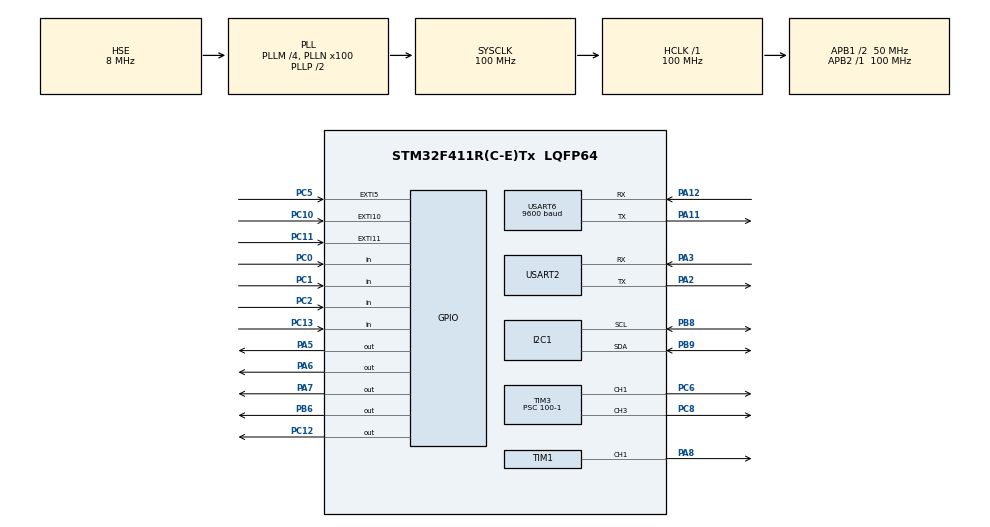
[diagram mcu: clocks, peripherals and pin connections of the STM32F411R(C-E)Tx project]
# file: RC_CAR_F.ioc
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FREERTOS.Mutexes01=lcdMutex,Dynamic,NULL,Available
FREERTOS.Queues01=btnQue,16,uint32_t,0,Dynamic,NULL,NULL;CommQueue,16,uint32_t,0,Dynamic,NULL,NULL
FREERTOS.Tasks01=defaultTask,0,128,StartDefaultTask,Default,NULL,Dynamic,NULL,NULL;MotorTask,0,128,StartMotorTask,Default,NULL,Dynamic,NULL,NULL;ButtonTask,0,128,StartButtonTask,Default,NULL,Dynamic,NULL,NULL;CommTask,0,128,StartCommTask,Default,NULL,Dynamic,NULL,NULL
FREERTOS.configUSE_NEWLIB_REENTRANT=1
Mcu.Family=STM32F4
Mcu.Name=STM32F411R(C-E)Tx
Mcu.Package=LQFP64
NVIC.EXTI15_10_IRQn=true\:5\:0\:false\:false\:true\:true\:true\:true\:true
NVIC.EXTI9_5_IRQn=true\:5\:0\:false\:false\:true\:true\:true\:true\:true
NVIC.PriorityGroup=NVIC_PRIORITYGROUP_4
NVIC.TIM1_UP_TIM10_IRQn=true\:5\:0\:false\:false\:true\:true\:false\:true\:true
NVIC.TimeBase=TIM1_UP_TIM10_IRQn
NVIC.TimeBaseIP=TIM10
NVIC.USART2_IRQn=true\:5\:0\:false\:false\:true\:true\:true\:true\:true
NVIC.USART6_IRQn=true\:5\:0\:false\:false\:true\:true\:true\:true\:true
PA11.Mode=Asynchronous
PA11.Signal=USART6_TX
PA12.Mode=Asynchronous
PA12.Signal=USART6_RX
PA13.Mode=Serial_Wire
PA13.Signal=SYS_JTMS-SWDIO
PA14.Mode=Serial_Wire
PA14.Signal=SYS_JTCK-SWCLK
PA2.Mode=Asynchronous
PA2.Signal=USART2_TX
PA3.Mode=Asynchronous
PA3.Signal=USART2_RX
PA5.Signal=GPIO_Output
PA6.Signal=GPIO_Output
PA7.Signal=GPIO_Output
PA8.Signal=S_TIM1_CH1
PB6.Signal=GPIO_Output
PB8.Mode=I2C
PB8.Signal=I2C1_SCL
PB9.Mode=I2C
PB9.Signal=I2C1_SDA
PC0.Signal=GPIO_Input
PC1.Signal=GPIO_Input
PC10.GPIO_ModeDefaultEXTI=GPIO_MODE_IT_RISING_FALLING
PC10.Signal=GPXTI10
PC11.GPIO_ModeDefaultEXTI=GPIO_MODE_IT_RISING_FALLING
PC11.Signal=GPXTI11
PC12.Signal=GPIO_Output
PC13-ANTI_TAMP.Signal=GPIO_Input
PC2.Signal=GPIO_Input
PC5.GPIO_ModeDefaultEXTI=GPIO_MODE_IT_RISING_FALLING
PC5.Signal=GPXTI5
PC6.Signal=S_TIM3_CH1
PC8.Signal=S_TIM3_CH3
PH0\ -\ OSC_IN.Mode=HSE-External-Oscillator
PH0\ -\ OSC_IN.Signal=RCC_OSC_IN
PH1\ -\ OSC_OUT.Mode=HSE-External-Oscillator
PH1\ -\ OSC_OUT.Signal=RCC_OSC_OUT
ProjectManager.HeapSize=0x200
ProjectManager.StackSize=0x400
ProjectManager.TargetToolchain=STM32CubeIDE
RCC.48MHZClocksFreq_Value=50000000
RCC.AHBFreq_Value=100000000
RCC.APB1CLKDivider=RCC_HCLK_DIV2
RCC.APB1Freq_Value=50000000
RCC.APB1TimFreq_Value=100000000
RCC.APB2Freq_Value=100000000
RCC.APB2TimFreq_Value=100000000
RCC.CortexFreq_Value=100000000
RCC.HCLKFreq_Value=100000000
RCC.HSE_VALUE=8000000
RCC.HSI_VALUE=16000000
RCC.LSE_VALUE=32768
RCC.PLLM=4
RCC.PLLN=100
RCC.PLLSourceVirtual=RCC_PLLSOURCE_HSE
RCC.SYSCLKFreq_VALUE=100000000
RCC.SYSCLKSource=RCC_SYSCLKSOURCE_PLLCLK
RCC.VCOOutputFreq_Value=200000000
SH.S_TIM1_CH1.0=TIM1_CH1,PWM Generation1 CH1
SH.S_TIM3_CH1.0=TIM3_CH1,PWM Generation1 CH1
SH.S_TIM3_CH3.0=TIM3_CH3,PWM Generation3 CH3
TIM1.Channel-PWM\ Generation1\ CH1=TIM_CHANNEL_1
TIM1.Period=1000-1
TIM1.Prescaler=100-1
TIM2.Prescaler=100-1
TIM3.AutoReloadPreload=TIM_AUTORELOAD_PRELOAD_ENABLE
TIM3.Channel-PWM\ Generation1\ CH1=TIM_CHANNEL_1
TIM3.Channel-PWM\ Generation3\ CH3=TIM_CHANNEL_3
TIM3.Period=1000-1
TIM3.Prescaler=100-1
USART2.VirtualMode=VM_ASYNC
USART6.BaudRate=9600
USART6.VirtualMode=VM_ASYNC
VP_FREERTOS_VS_CMSIS_V1.Mode=CMSIS_V1
VP_SYS_VS_tim10.Mode=TIM10
VP_TIM1_VS_ClockSourceINT.Mode=Internal
VP_TIM2_VS_ClockSourceINT.Mode=Internal
VP_TIM3_VS_ClockSourceINT.Mode=Internal
board=custom

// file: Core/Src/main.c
/* USER CODE BEGIN Header */
/**
  ******************************************************************************
  * @file           : main.c
  * @brief          : Main program body
  ******************************************************************************
  * @attention
  *
  * Copyright (c) 2026 STMicroelectronics.
  * All rights reserved.
  *
  * This software is licensed under terms that can be found in the LICENSE file
  * in the root directory of this software component.
  * If no LICENSE file comes with this software, it is provided AS-IS.
  *
  ******************************************************************************
  */
/* USER CODE END Header */
#include "main.h"
#include "cmsis_os.h"
#include "i2c.h"
#include "tim.h"
#include "usart.h"
#include "gpio.h"

void SystemClock_Config(void);
void MX_FREERTOS_Init(void);

int main(void)
{

  /* MCU Configuration--------------------------------------------------------*/

  /* Reset of all peripherals, Initializes the Flash interface and the Systick. */
  HAL_Init();

  /* Configure the system clock */
  SystemClock_Config();

  /* Initialize all configured peripherals */
  MX_GPIO_Init();
  MX_TIM3_Init();
  MX_USART2_UART_Init();
  MX_I2C1_Init();
  MX_TIM2_Init();
  MX_TIM1_Init();
  MX_USART6_UART_Init();

  /* Call init function for freertos objects (in cmsis_os2.c) */
  MX_FREERTOS_Init();

  /* Start scheduler */
  osKernelStart();

  /* We should never get here as control is now taken by the scheduler */

  /* Infinite loop */
  while (1)
  {

  }
}

void SystemClock_Config(void)
{
  RCC_OscInitTypeDef RCC_OscInitStruct = {0};
  RCC_ClkInitTypeDef RCC_ClkInitStruct = {0};

  /** Configure the main internal regulator output voltage
  */
  __HAL_RCC_PWR_CLK_ENABLE();
  __HAL_PWR_VOLTAGESCALING_CONFIG(PWR_REGULATOR_VOLTAGE_SCALE1);

  /** Initializes the RCC Oscillators according to the specified parameters
  * in the RCC_OscInitTypeDef structure.
  */
  RCC_OscInitStruct.OscillatorType = RCC_OSCILLATORTYPE_HSE;
  RCC_OscInitStruct.HSEState = RCC_HSE_ON;
  RCC_OscInitStruct.PLL.PLLState = RCC_PLL_ON;
  RCC_OscInitStruct.PLL.PLLSource = RCC_PLLSOURCE_HSE;
  RCC_OscInitStruct.PLL.PLLM = 4;
  RCC_OscInitStruct.PLL.PLLN = 100;
  RCC_OscInitStruct.PLL.PLLP = RCC_PLLP_DIV2;
  RCC_OscInitStruct.PLL.PLLQ = 4;
  if (HAL_RCC_OscConfig(&RCC_OscInitStruct) != HAL_OK)
  {
    Error_Handler();
  }

  /** Initializes the CPU, AHB and APB buses clocks
  */
  RCC_ClkInitStruct.ClockType = RCC_CLOCKTYPE_HCLK|RCC_CLOCKTYPE_SYSCLK
                              |RCC_CLOCKTYPE_PCLK1|RCC_CLOCKTYPE_PCLK2;
  RCC_ClkInitStruct.SYSCLKSource = RCC_SYSCLKSOURCE_PLLCLK;
  RCC_ClkInitStruct.AHBCLKDivider = RCC_SYSCLK_DIV1;
  RCC_ClkInitStruct.APB1CLKDivider = RCC_HCLK_DIV2;
  RCC_ClkInitStruct.APB2CLKDivider = RCC_HCLK_DIV1;

  if (HAL_RCC_ClockConfig(&RCC_ClkInitStruct, FLASH_LATENCY_3) != HAL_OK)
  {
    Error_Handler();
  }
}

void HAL_TIM_PeriodElapsedCallback(TIM_HandleTypeDef *htim)
{
  if (htim->Instance == TIM10)
  {
    HAL_IncTick();
  }
}

void Error_Handler(void)
{
  __disable_irq();
  while (1)
  {
  }
}

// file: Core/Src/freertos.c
/* USER CODE BEGIN Header */
/**
  ******************************************************************************
  * File Name          : freertos.c
  * Description        : Code for freertos applications
  ******************************************************************************
  * @attention
  *
  * Copyright (c) 2026 STMicroelectronics.
  * All rights reserved.
  *
  * This software is licensed under terms that can be found in the LICENSE file
  * in the root directory of this software component.
  * If no LICENSE file comes with this software, it is provided AS-IS.
  *
  ******************************************************************************
  */
/* USER CODE END Header */

#include "FreeRTOS.h"
#include "task.h"
#include "main.h"
#include "cmsis_os.h"

/* USER CODE BEGIN Includes */
#include "ap/task/button_task/button_task.h"
#include "ap/task/motor_control_task/motor_control_task.h"
#include "ap/task/comm_task/comm_task.h"
#include "ap/task/ultrasonic_task/ultrasonic_task.h"
#include "i2c.h"
#include "driver/lcd/lcd.h"
#include <stdio.h>

/* USER CODE END Includes */

/* USER CODE BEGIN Variables */
osMutexId uartMutexHandle;

/* USER CODE END Variables */
osThreadId defaultTaskHandle;
osThreadId MotorTaskHandle;
osThreadId ButtonTaskHandle;
osThreadId CommTaskHandle;
osMessageQId btnQueHandle;
osMessageQId CommQueueHandle;
osMutexId lcdMutexHandle;

void StartDefaultTask(void const * argument);
void StartMotorTask(void const * argument);
void StartButtonTask(void const * argument);
void StartCommTask(void const * argument);

void MX_FREERTOS_Init(void); /* (MISRA C 2004 rule 8.1) */

/* GetIdleTaskMemory prototype (linked to static allocation support) */
void vApplicationGetIdleTaskMemory( StaticTask_t **ppxIdleTaskTCBBuffer, StackType_t **ppxIdleTaskStackBuffer, uint32_t *pulIdleTaskStackSize );

/* USER CODE BEGIN GET_IDLE_TASK_MEMORY */
static StaticTask_t xIdleTaskTCBBuffer;
static StackType_t xIdleStack[configMINIMAL_STACK_SIZE];

void vApplicationGetIdleTaskMemory( StaticTask_t **ppxIdleTaskTCBBuffer, StackType_t **ppxIdleTaskStackBuffer, uint32_t *pulIdleTaskStackSize )
{
  *ppxIdleTaskTCBBuffer = &xIdleTaskTCBBuffer;
  *ppxIdleTaskStackBuffer = &xIdleStack[0];
  *pulIdleTaskStackSize = configMINIMAL_STACK_SIZE;
  /* place for user code */
}
/* USER CODE END GET_IDLE_TASK_MEMORY */

void MX_FREERTOS_Init(void) {
  /* Create the mutex(es) */
  /* definition and creation of lcdMutex */
  osMutexDef(lcdMutex);
  lcdMutexHandle = osMutexCreate(osMutex(lcdMutex));

  /* USER CODE BEGIN RTOS_MUTEX */
  osMutexDef(uartMutex);
  uartMutexHandle = osMutexCreate(osMutex(uartMutex));
  /* add mutexes, ... */
  /* USER CODE END RTOS_MUTEX */

  /* Create the queue(s) */
  /* definition and creation of btnQue */
  osMessageQDef(btnQue, 16, uint32_t);
  btnQueHandle = osMessageCreate(osMessageQ(btnQue), NULL);

  /* definition and creation of CommQueue */
  osMessageQDef(CommQueue, 16, uint32_t);
  CommQueueHandle = osMessageCreate(osMessageQ(CommQueue), NULL);

  /* Create the thread(s) */
  /* definition and creation of defaultTask */
  osThreadDef(defaultTask, StartDefaultTask, osPriorityNormal, 0, 128);
  defaultTaskHandle = osThreadCreate(osThread(defaultTask), NULL);

  /* definition and creation of MotorTask */
  osThreadDef(MotorTask, StartMotorTask, osPriorityNormal, 0, 128);
  MotorTaskHandle = osThreadCreate(osThread(MotorTask), NULL);

  /* definition and creation of ButtonTask */
  osThreadDef(ButtonTask, StartButtonTask, osPriorityNormal, 0, 128);
  ButtonTaskHandle = osThreadCreate(osThread(ButtonTask), NULL);

  /* definition and creation of CommTask */
  osThreadDef(CommTask, StartCommTask, osPriorityNormal, 0, 128);
  CommTaskHandle = osThreadCreate(osThread(CommTask), NULL);

}

void StartDefaultTask(void const * argument)
{
  /* USER CODE BEGIN StartDefaultTask */
  if (osMutexWait(lcdMutexHandle, osWaitForever) == osOK) {
    Lcd_init(&hi2c1);
    osMutexRelease(lcdMutexHandle);
  }
  ultrasonic_task_init();
  /* Infinite loop */
  for(;;)
  {
    ultrasonic_task();
    osDelay(10);
  }
  /* USER CODE END StartDefaultTask */
}

void StartMotorTask(void const * argument)
{
  /* USER CODE BEGIN StartMotorTask */
  motor_control_task_init();
  /* Infinite loop */
  for(;;)
  {
    motor_control_task();
    osDelay(10);
  }
  /* USER CODE END StartMotorTask */
}

void StartButtonTask(void const * argument)
{
  /* USER CODE BEGIN StartButtonTask */
  button_task_init();
  /* Infinite loop */
  for(;;)
  {
    button_task();
    osDelay(10);
  }
  /* USER CODE END StartButtonTask */
}

void StartCommTask(void const * argument)
{
  /* USER CODE BEGIN StartCommTask */
  comm_task_init();
  /* Infinite loop */
  for(;;)
  {
    comm_task();
    osDelay(1);
  }
  /* USER CODE END StartCommTask */
}
